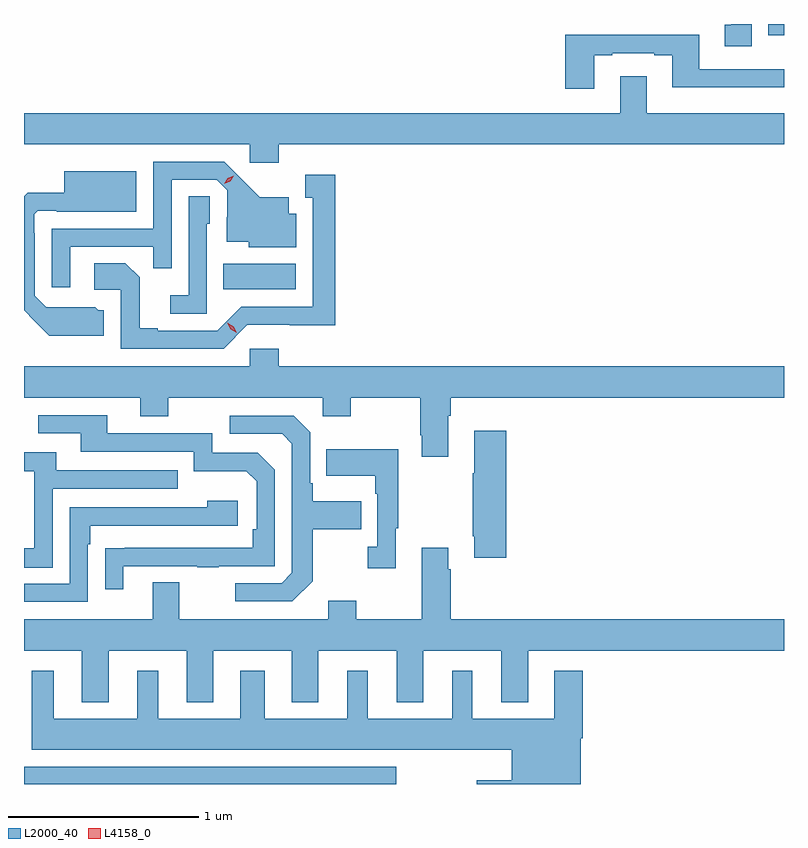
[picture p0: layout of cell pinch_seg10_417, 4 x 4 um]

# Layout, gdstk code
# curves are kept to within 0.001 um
import gdstk
lib = gdstk.Library(unit=1e-6, precision=1e-09)
def R(c, l, rs):  # rectangles x0, y0, x1, y1
    for r in rs: c.add(gdstk.rectangle(r[:2], r[2:], *l))
def P(c, l, *ps):  # polygons
    for p in ps: c.add(gdstk.Polygon(p, *l))
L2000_40 = (2000, 40)
L4158_0 = (4158, 0)

pinch_seg10_417 = lib.new_cell('pinch_seg10_417')
R(pinch_seg10_417, L2000_40, [(359.874,1294.286,361.834,1294.378), (360.922,1296.89,361.303,1297.024), (363.791,1298.228,363.874,1298.286)])
P(pinch_seg10_417, L2000_40, [(363.703,1298.286),(363.596,1298.286),(363.596,1298.282),(363.563,1298.282),(363.563,1298.169),(363.703,1298.169)],
  [(362.875,1298.121),(362.971,1298.121),(362.971,1298.133),(363.191,1298.133),(363.191,1298.121),(363.287,1298.121),(363.287,1297.952),(363.874,1297.952),(363.874,1298.049),(363.427,1298.049),(363.427,1298.229),(362.723,1298.229),(362.723,1297.944),(362.875,1297.944)],
  [(361.214,1297.652),(363.874,1297.652),(363.874,1297.816),(363.151,1297.816),(363.151,1298.011),(363.011,1298.011),(363.011,1297.816),(359.874,1297.816),(359.874,1297.652),(361.062,1297.652),(361.062,1297.557),(361.214,1297.557)],
  [(360.117,1297.113),(360.553,1297.113),(360.553,1297),(360.651,1297),(360.651,1297.467),(360.888,1297.467),(360.945,1297.41),(360.945,1297.268),(360.941,1297.268),(360.941,1297.139),(361.056,1297.139),(361.056,1297.112),(361.306,1297.112),(361.306,1297.288),(361.267,1297.288),(361.267,1297.375),(361.115,1297.375),(360.928,1297.56),(360.555,1297.56),(360.555,1297.209),(360.021,1297.209),(360.021,1296.9),(360.117,1296.9)],
  [(360.295,1296.78),(360.264,1296.78),(360.248,1296.796),(359.991,1296.795),(359.931,1296.855),(359.931,1297.184),(359.928,1297.184),(359.928,1297.284),(359.946,1297.302),(360.046,1297.302),(360.046,1297.298),(360.466,1297.298),(360.466,1297.51),(360.086,1297.51),(360.086,1297.399),(359.894,1297.399),(359.874,1297.379),(359.874,1296.779),(360.007,1296.644),(360.295,1296.644)],
  [(361.05,1296.702),(361.513,1296.701),(361.513,1297.492),(361.355,1297.492),(361.355,1297.371),(361.394,1297.371),(361.394,1296.798),(361.017,1296.798),(360.891,1296.672),(360.577,1296.672),(360.577,1296.685),(360.483,1296.685),(360.483,1296.952),(360.407,1297.028),(360.243,1297.028),(360.243,1296.888),(360.384,1296.888),(360.384,1296.576),(360.924,1296.576)],
  [(360.837,1297.236),(360.852,1297.236),(360.852,1297.379),(360.741,1297.379),(360.741,1296.859),(360.645,1296.859),(360.645,1296.762),(360.837,1296.762)],
  [(362.107,1296.224),(362.12,1296.224),(362.12,1296.32),(363.874,1296.32),(363.874,1296.484),(361.214,1296.484),(361.214,1296.577),(361.062,1296.577),(361.062,1296.484),(359.874,1296.484),(359.874,1296.32),(360.485,1296.32),(360.485,1296.221),(360.633,1296.221),(360.633,1296.32),(361.446,1296.32),(361.446,1296.221),(361.593,1296.221),(361.593,1296.32),(361.96,1296.32),(361.96,1296.121),(361.967,1296.121),(361.967,1296.009),(362.107,1296.009)],
  [(360.397,1295.433),(360.787,1295.433),(360.787,1295.428),(360.899,1295.428),(360.899,1295.433),(361.194,1295.433),(361.194,1295.94),(361.104,1296.03),(360.864,1296.03),(360.864,1296.132),(360.313,1296.132),(360.313,1296.228),(359.949,1296.228),(359.949,1296.132),(360.173,1296.132),(360.173,1296.036),(360.768,1296.036),(360.768,1295.933),(361.045,1295.933),(361.098,1295.88),(361.098,1295.626),(361.078,1295.626),(361.078,1295.529),(360.301,1295.528),(360.301,1295.31),(360.397,1295.31)],
  [(361.393,1295.353),(361.393,1295.626),(361.649,1295.626),(361.649,1295.773),(361.393,1295.773),(361.393,1295.869),(361.38,1295.869),(361.38,1296.138),(361.293,1296.225),(360.957,1296.225),(360.957,1296.129),(361.233,1296.129),(361.284,1296.078),(361.284,1295.397),(361.23,1295.343),(360.987,1295.343),(360.987,1295.247),(361.287,1295.247)],
  [(362.411,1296.145),(362.243,1296.145),(362.243,1295.921),(362.236,1295.921),(362.236,1295.59),(362.243,1295.59),(362.243,1295.478),(362.411,1295.478)],
  [(361.831,1295.633),(361.843,1295.633),(361.843,1296.049),(361.465,1296.049),(361.465,1295.909),(361.722,1295.909),(361.722,1295.813),(361.734,1295.813),(361.734,1295.534),(361.683,1295.534),(361.683,1295.421),(361.831,1295.421)],
  [(360.024,1295.841),(360.683,1295.841),(360.683,1295.937),(360.043,1295.937),(360.043,1296.031),(359.874,1296.031),(359.874,1295.931),(359.928,1295.931),(359.928,1295.526),(359.874,1295.526),(359.874,1295.425),(360.024,1295.425)],
  [(360.21,1295.549),(360.223,1295.549),(360.223,1295.646),(361,1295.646),(361,1295.776),(360.839,1295.776),(360.839,1295.742),(360.114,1295.742),(360.114,1295.34),(359.874,1295.34),(359.874,1295.244),(360.21,1295.244)],
  [(360.319,1294.988),(360.731,1294.988),(360.731,1294.715),(360.871,1294.715),(360.871,1294.988),(361.283,1294.988),(361.283,1294.715),(361.423,1294.715),(361.423,1294.988),(361.835,1294.988),(361.835,1294.715),(361.975,1294.715),(361.975,1294.988),(362.387,1294.988),(362.387,1294.715),(362.527,1294.715),(362.527,1294.988),(363.874,1294.988),(363.874,1295.152),(362.12,1295.152),(362.12,1295.417),(362.107,1295.417),(362.107,1295.53),(361.967,1295.53),(361.967,1295.152),(361.623,1295.152),(361.623,1295.251),(361.475,1295.251),(361.475,1295.152),(360.691,1295.152),(360.691,1295.347),(360.551,1295.347),(360.551,1295.152),(359.874,1295.152),(359.874,1294.988),(360.179,1294.988),(360.179,1294.715),(360.319,1294.715)],
  [(362.803,1294.526),(362.816,1294.526),(362.816,1294.882),(362.666,1294.882),(362.666,1294.63),(362.233,1294.63),(362.233,1294.882),(362.129,1294.882),(362.129,1294.63),(361.684,1294.63),(361.684,1294.882),(361.574,1294.882),(361.574,1294.63),(361.141,1294.63),(361.141,1294.882),(361.013,1294.882),(361.013,1294.63),(360.58,1294.63),(360.58,1294.882),(360.47,1294.882),(360.47,1294.63),(360.031,1294.63),(360.031,1294.882),(359.915,1294.882),(359.915,1294.466),(362.441,1294.466),(362.441,1294.306),(362.258,1294.306),(362.258,1294.286),(362.803,1294.286)])
P(pinch_seg10_417, L4158_0, [(360.993,1296.66),(360.962,1296.68),(360.945,1296.713),(360.945,1296.713),(360.945,1296.713),(360.977,1296.693),(360.994,1296.66),(360.994,1296.66)],
  [(360.928,1297.444),(360.928,1297.444),(360.946,1297.473),(360.977,1297.487),(360.977,1297.487),(360.977,1297.487),(360.959,1297.458),(360.928,1297.444)])

lib.write_gds('pinch_seg10_417.gds')
